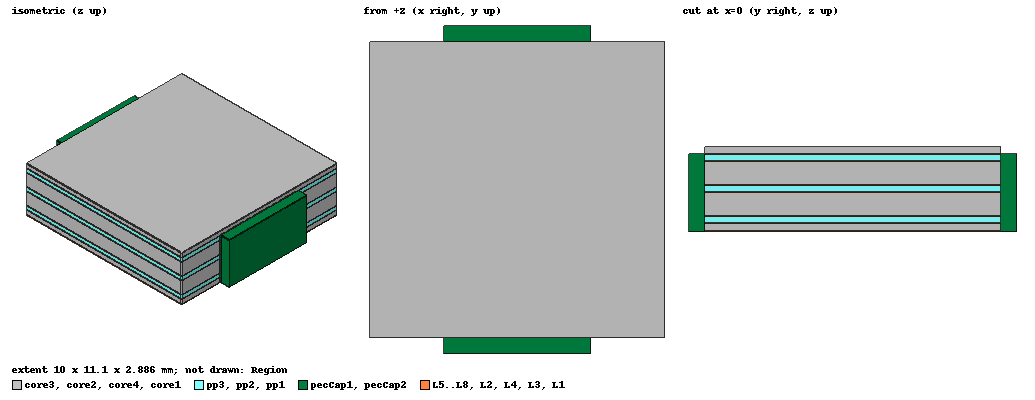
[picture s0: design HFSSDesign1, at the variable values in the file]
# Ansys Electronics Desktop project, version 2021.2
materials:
  vacuum: permittivity=1
  Rogers RO4350 (tm): permittivity=3.66 dielectric_loss_tangent=0.004
  RO4450F: permittivity=3.54 dielectric_loss_tangent=0.004
  copper: permeability=0.999991 conductivity=58000000
  pec: conductivity=1e+30

design HFSSDesign1 (HFSS, DrivenModal, model units mm)
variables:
  W = 10mm
  L = 10mm
  H_8mil = 0.203mm
  H_cop = 0.035mm
  H_30mil = 0.762mm
  H_10mil = 0.254mm
  lead_line = 10mm
  W_line = 1mm
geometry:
  pp2 [RO4450F] = rectangle(corner=(-W/2, -L/2, 0mm), x_size=W, y_size=L)
  pp2.thicken(H_8mil, both sides)
  L4 [RO4450F] = rectangle(corner=(-W/2, -L/2, H_8mil/2), x_size=W, y_size=L)
  L4.thicken(H_cop)
  core2 [Rogers RO4350 (tm)] = rectangle(corner=(-W/2, -L/2, H_8mil/2+H_cop), x_size=W, y_size=L)
  core2.thicken(H_30mil)
  L3 [RO4450F] = rectangle(corner=(-W/2, -L/2, H_8mil/2+H_cop+H_30mil), x_size=W, y_size=L)
  L3.thicken(H_cop)
  pp1 [RO4450F] = rectangle(corner=(-W/2, -L/2, H_8mil/2+H_cop*2+H_30mil), x_size=W, y_size=L)
  pp1.thicken(H_8mil)
  L2 [RO4450F] = rectangle(corner=(-W/2, -L/2, H_8mil*3/2+H_cop*2+H_30mil), x_size=W, y_size=L)
  L2.thicken(H_cop)
  core1 [Rogers RO4350 (tm)] = rectangle(corner=(-W/2, -L/2, H_8mil*3/2+H_cop*3+H_30mil), x_size=W, y_size=L)
  core1.thicken(H_10mil)
  L1 [copper] = rectangle(corner=(-W_line/2, -L/2, H_8mil*3/2+H_cop*2+H_30mil), x_size=W_line, y_size=L)
  L1.thicken(H_cop)
  L5 [RO4450F] = rectangle(corner=(-W/2, -L/2, H_8mil/2), x_size=W, y_size=L)
  L5.thicken(H_cop)
  L5.rotate(axis=Y, angle=180deg)
  core3 [Rogers RO4350 (tm)] = rectangle(corner=(-W/2, -L/2, H_8mil/2+H_cop), x_size=W, y_size=L)
  core3.thicken(H_30mil)
  core3.rotate(axis=Y, angle=180deg)
  L6 [RO4450F] = rectangle(corner=(-W/2, -L/2, H_8mil/2+H_cop+H_30mil), x_size=W, y_size=L)
  L6.thicken(H_cop)
  L6.rotate(axis=Y, angle=180deg)
  pp3 [RO4450F] = rectangle(corner=(-W/2, -L/2, H_8mil/2+H_cop*2+H_30mil), x_size=W, y_size=L)
  pp3.thicken(H_8mil)
  pp3.rotate(axis=Y, angle=180deg)
  L7 [RO4450F] = rectangle(corner=(-W/2, -L/2, H_8mil*3/2+H_cop*2+H_30mil), x_size=W, y_size=L)
  L7.thicken(H_cop)
  L7.rotate(axis=Y, angle=180deg)
  core4 [Rogers RO4350 (tm)] = rectangle(corner=(-W/2, -L/2, H_8mil*3/2+H_cop*3+H_30mil), x_size=W, y_size=L)
  core4.thicken(H_10mil)
  core4.rotate(axis=Y, angle=180deg)
  WavePort = rectangle(corner=(-W_line*5/2, -L/2, H_8mil*(-3/2)+H_cop*(-4)+H_30mil*(-1)+H_10mil*(-1)), z_size=(H_10mil*1+H_8mil*3+H_cop*7+H_30mil*2), x_size=W_line*5)
  WavePort1 = rectangle(corner=(-W_line*5/2, -L/2, H_8mil*(-3/2)+H_cop*(-4)+H_30mil*(-1)+H_10mil*(-1)), z_size=(H_10mil*1+H_8mil*3+H_cop*7+H_30mil*2), x_size=W_line*5)
  WavePort1.rotate(axis=Z, angle=180deg)
  Region [vacuum] = region(absolute_offset=1.14mm on all sides)
  pecCap1 [pec] = sweep_along_normal(WavePort1.face(#7325), length=-0.55mm)
  pecCap2 [pec] = sweep_along_normal(WavePort.face(at (0, -5, -0.1445)), length=-0.55mm)
  L8 [copper] = rectangle(corner=(-W/2, -L/2, H_8mil*3/2+H_cop*3+H_30mil+H_10mil), x_size=W, y_size=L)
  L8.thicken(H_cop)
  L8.rotate(axis=Y, angle=180deg)
  L1_1 = L1.copy()
  L2.subtract(L1_1)
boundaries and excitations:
  Rad1: Radiation Objects=Region
  1: Wave Port Objects=WavePort1 NumModes=1 Modes{Mode1{CharImp=Zpi}}
  2: Wave Port Objects=WavePort NumModes=1 Modes{Mode1{CharImp=Zpi}}
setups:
  Setup1: HfssDriven MultipleAdaptiveFreqsSetup{Low=37GHz High=41GHz} MaxDeltaS=0.02 MaximumPasses=20 MinimumPasses=2 MinimumConvergedPasses=4 PercentRefinement=30 BasisOrder=1 PortAccuracy=2
    sweep Sweep: 37GHz to 41GHz step 0.05GHz; Type=Interpolating InterpTolerance=0.5 InterpMaxSolns=250 InterpUsePortImped=false PassivityErrorTolerance=0.0001
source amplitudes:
  1:1: 1W 0deg
  2:1: 0W 0deg
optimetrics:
  ParametricSetup1: Parametric Sim._Setups=[Setup1]
    sweep W_line: LIN 0.5mm 1.5mm 0.05mm
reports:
  S Parameter Plot 1: dB(S(1,1)), dB(S(2,1)), re(Gamma(1)), im(Gamma(1)), re(Zo(1)) vs Freq on Setup1 : Sweep [W_line=all]
